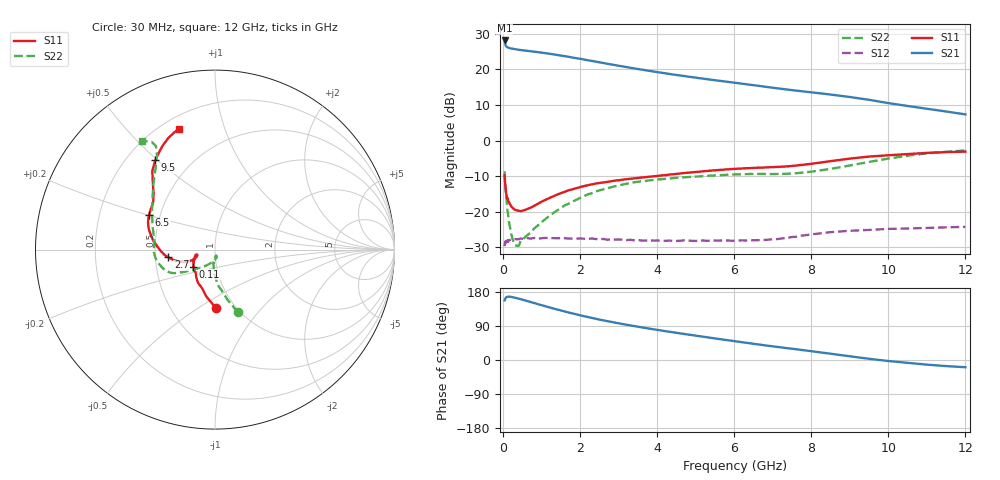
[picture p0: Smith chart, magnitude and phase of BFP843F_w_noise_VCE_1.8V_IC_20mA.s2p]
! Infineon Technologies  Discrete & RF Semiconductors
! BFP843F
! VCE =  1.8 V,  IC =  20 mA
! Common Emitter S-Parameters:  Aug 2013
# GHz  S  MA  R  50
!  f  S11  S21  S12  S22
! GHz  MAG  ANG  MAG  ANG  MAG  ANG  MAG  ANG
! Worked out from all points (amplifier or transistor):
!   103 points, 30 MHz to 12 GHz, reference 50 ohm
!   highest |S21| = 28.2 dB at 30 MHz (marker M1)
!   |S21| within 3 dB of that: start of sweep to 681.7 MHz
!   unconditionally stable (mu >= 1): 114.9 MHz to end of sweep
!   at 400 MHz: K = 1.02, MAG = 25.7 dB, |S12| = -27.7 dB
!   at 3.7 GHz: K = 1.24, MAG = 21.0 dB, |S12| = -28.1 dB
!   at 12 GHz: K = 1.22, MAG = 13.0 dB, |S12| = -24.2 dB
!   lowest NFmin = 0.91 dB at 450 MHz
!   S11 on the Smith chart (normalised r, x): 30 MHz: 0.82, -0.60; 110 MHz: 0.77, -0.15; 2.7 GHz: 0.58, -0.05; 6.5 GHz: 0.43, +0.20; 9.5 GHz: 0.32, +0.49; 12 GHz: 0.27, +0.71
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0.03  0.3274 -88.9  25.57 157.4  0.033 25.7  0.3725 -70.0
0.04  0.2646 -100.7  23.51 159.3  0.0369 22.2  0.2857 -76.2
0.05  0.2283 -108.1  22.29 162.6  0.0363 19.8  0.2286 -80.9
0.08  0.1693 -129.0  20.93 165.8  0.0375 11.6  0.1469 -89.7
0.11  0.1536 -141.9  20.46 166.9  0.0395 7.2  0.0995 -94.4
0.15  0.1345 -150.9  20.06 167.2  0.0401 10.3  0.0693 -97.9
0.2  0.1198 -160.1  19.68 166.5  0.0408 5.8  0.0496 -94.9
0.4  0.1036 -164.0  18.9 161.7  0.0414 3.5  0.0335 -76.6
0.9  0.1305 -155.8  17.5 147.2  0.0419 1.8  0.0649 -98.8
1.2  0.1575 -155.5  16.62 138.7  0.043 1.8  0.0886 -113.1
1.7  0.2015 -160.7  15.05 125.1  0.0422 1.3  0.1304 -129.4
2.1  0.231 -164.9  13.78 115.4  0.042 0.9  0.1671 -137.5
2.7  0.264 -170.8  12.02 102.5  0.0406 2.3  0.2149 -144.7
3.4  0.2956 -177.3  10.35 89.5  0.0398 2.1  0.2611 -149.8
4.1  0.325 176.3  9.011 77.8  0.0394 4.7  0.2877 -154.5
5  0.3636 168.0  7.677 64.2  0.0391 8.1  0.3136 -162.3
6.1  0.4046 157.2  6.422 48.3  0.0395 13.0  0.3362 -173.9
6.5  0.4146 152.4  6.016 42.7  0.04 15.2  0.3408 -178.6
8.5  0.5162 132.2  4.444 16.5  0.0519 22.3  0.402 150.8
9.5  0.5986 123.8  3.747 3.2  0.0558 19.8  0.5037 132.9
10.5  0.6486 116.7  3.071 -7.5  0.0584 18.0  0.6147 121.7
12  0.7013 106.7  2.34 -19.1  0.0616 19.2  0.7307 124.0
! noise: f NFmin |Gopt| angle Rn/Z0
0.45  0.91  0.05  178  0.09
0.9  0.91  0.06  172  0.09
1.5  0.94  0.08  171  0.09
1.9  0.99  0.08  172  0.1
2.4  1.03  0.1  173  0.1
3.5  1.07  0.13  -176  0.16
5.5  1.18  0.21  -147  0.23
10  1.69  0.38  -105  0.33
